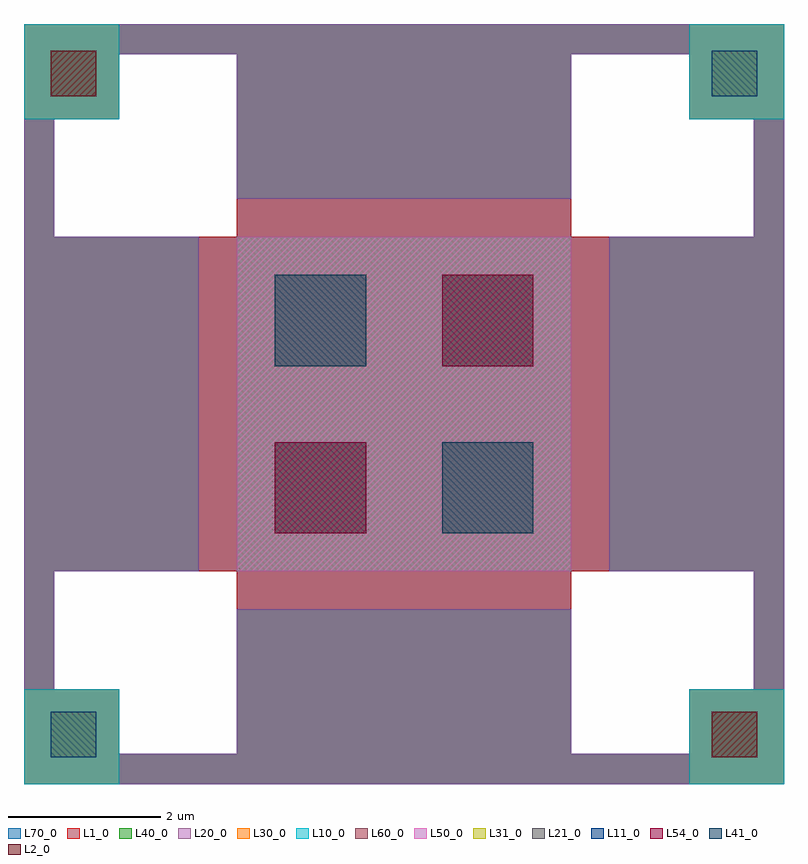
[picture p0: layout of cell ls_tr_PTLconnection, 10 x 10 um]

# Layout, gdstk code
import gdstk
lib = gdstk.Library(unit=1e-6, precision=1e-09)
def R(c, l, rs):  # rectangles x0, y0, x1, y1
    for r in rs: c.add(gdstk.rectangle(r[:2], r[2:], *l))
def P(c, l, *ps):  # polygons
    for p in ps: c.add(gdstk.Polygon(p, *l))
L1_0 = (1, 0)
L2_0 = (2, 0)
L10_0 = (10, 0)
L11_0 = (11, 0)
L20_0 = (20, 0)
L21_0 = (21, 0)
L30_0 = (30, 0)
L31_0 = (31, 0)
L40_0 = (40, 0)
L41_0 = (41, 0)
L50_0 = (50, 0)
L54_0 = (54, 0)
L60_0 = (60, 0)
L70_0 = (70, 0)

ls_tr_ptlconnection = lib.new_cell('ls_tr_PTLconnection')
P(ls_tr_ptlconnection, L1_0, [(10,10),(7.2,10),(7.2,9.6),(8.75,9.6),(8.75,8.75),(9.6,8.75),(9.6,7.2),(7.2,7.2),(7.2,2.8),(9.6,2.8),(9.6,1.25),(8.75,1.25),(8.75,0.4),(7.2,0.4),(7.2,10),(1.25,10),(1.25,9.6),(2.8,9.6),(2.8,7.2),(0.4,7.2),(0.4,2.8),(2.8,2.8),(2.8,0.4),(1.25,0.4),(1.25,1.25),(0.4,1.25),(0.4,8.75),(1.25,8.75),(1.25,10),(0,10),(0,0),(10,0)])
R(ls_tr_ptlconnection, L2_0, [(9.05,0.35,9.65,0.95), (0.35,9.05,0.95,9.65)])
R(ls_tr_ptlconnection, L10_0, [(0,0,1.25,1.25), (8.75,0,10,1.25), (2.8,2.8,7.2,7.2), (0,8.75,1.25,10), (8.75,8.75,10,10)])
R(ls_tr_ptlconnection, L11_0, [(0.35,0.35,0.95,0.95), (3.3,3.3,4.5,4.5), (5.5,5.5,6.7,6.7), (9.05,9.05,9.65,9.65)])
R(ls_tr_ptlconnection, L20_0, [(2.8,2.8,7.2,7.2)])
P(ls_tr_ptlconnection, L20_0, [(10,10),(7.2,10),(7.2,9.6),(8.75,9.6),(8.75,8.75),(9.6,8.75),(9.6,7.2),(7.7,7.2),(7.7,2.8),(9.6,2.8),(9.6,1.25),(8.75,1.25),(8.75,0.4),(7.2,0.4),(7.2,2.3),(2.8,2.3),(2.8,0.4),(1.25,0.4),(1.25,1.25),(0.4,1.25),(0.4,2.8),(2.3,2.8),(2.3,7.2),(0.4,7.2),(0.4,8.75),(1.25,8.75),(1.25,9.6),(2.8,9.6),(2.8,7.7),(7.2,7.7),(7.2,10),(0,10),(0,0),(10,0)])
R(ls_tr_ptlconnection, L21_0, [(9.05,0.35,9.65,0.95), (5.5,3.3,6.7,4.5), (3.3,5.5,4.5,6.7), (0.35,9.05,0.95,9.65)])
R(ls_tr_ptlconnection, L30_0, [(0,0,1.25,1.25), (8.75,0,10,1.25), (2.8,2.8,7.2,7.2), (0,8.75,1.25,10), (8.75,8.75,10,10)])
R(ls_tr_ptlconnection, L31_0, [(0.35,0.35,0.95,0.95), (3.3,3.3,4.5,4.5), (5.5,5.5,6.7,6.7), (9.05,9.05,9.65,9.65)])
R(ls_tr_ptlconnection, L40_0, [(2.8,2.8,7.2,7.2)])
P(ls_tr_ptlconnection, L40_0, [(10,10),(7.2,10),(7.2,9.6),(8.75,9.6),(8.75,8.75),(9.6,8.75),(9.6,7.2),(7.7,7.2),(7.7,2.8),(9.6,2.8),(9.6,1.25),(8.75,1.25),(8.75,0.4),(7.2,0.4),(7.2,2.3),(2.8,2.3),(2.8,0.4),(1.25,0.4),(1.25,1.25),(0.4,1.25),(0.4,2.8),(2.3,2.8),(2.3,7.2),(0.4,7.2),(0.4,8.75),(1.25,8.75),(1.25,9.6),(2.8,9.6),(2.8,7.7),(7.2,7.7),(7.2,10),(0,10),(0,0),(10,0)])
R(ls_tr_ptlconnection, L41_0, [(5.5,3.3,6.7,4.5), (3.3,5.5,4.5,6.7)])
R(ls_tr_ptlconnection, L50_0, [(2.8,2.8,7.2,7.2)])
R(ls_tr_ptlconnection, L54_0, [(3.3,3.3,4.5,4.5), (5.5,5.5,6.7,6.7)])
R(ls_tr_ptlconnection, L60_0, [(2.8,2.8,7.2,7.2)])
P(ls_tr_ptlconnection, L70_0, [(10,10),(7.2,10),(7.2,9.6),(8.75,9.6),(8.75,8.75),(9.6,8.75),(9.6,7.2),(7.2,7.2),(7.2,2.8),(9.6,2.8),(9.6,1.25),(8.75,1.25),(8.75,0.4),(7.2,0.4),(7.2,10),(1.25,10),(1.25,9.6),(2.8,9.6),(2.8,7.2),(0.4,7.2),(0.4,2.8),(2.8,2.8),(2.8,0.4),(1.25,0.4),(1.25,1.25),(0.4,1.25),(0.4,8.75),(1.25,8.75),(1.25,10),(0,10),(0,0),(10,0)])

lib.write_gds('ls_tr_PTLconnection.gds')
